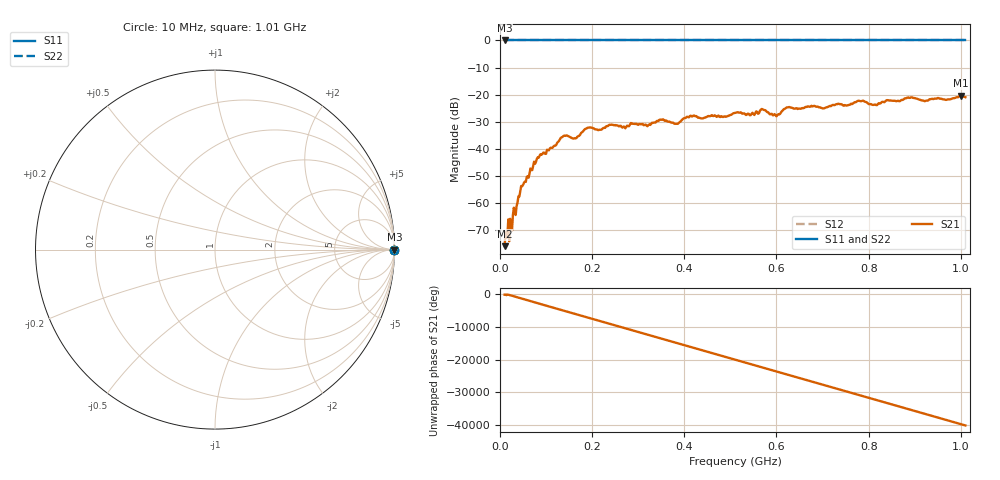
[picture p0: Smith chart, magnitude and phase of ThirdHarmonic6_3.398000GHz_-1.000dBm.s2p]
! 8/17/2025 10:50:52 AM
! C:\ANRITSUVNA\TEMP\TEMP.S2P
! CHANNEL.1
! TR.MEASUREMENT
! RAW.DATA
! RF.CORRECTION.OFF
! AVERAGING.OFF
! IF.BANDWIDTH: 5KHZ
! SWEEPTYPE:  FREQ.SWEEP(Linear)
! Reference Plane Port Info
! PORT:  PORT1  PORT2
! DISTANCE:  0  m  0  m
! TIME:  0  s  0  s
! PHASE.OFFSET:  0  deg.  0  deg.
! LOSS:  0  dB  0  dB
! REF.LOSS:  0  dB  0  dB
! REF.FREQ:  0  Hz  0  Hz
! Power Info
! POWER:  -20  dBm  -20  dBm
! EFF.POWER:  -20  dBm  -20  dBm
! SOURCE.ATTEN:  0  dB  0  dB
! TEST.ATTEN:  0  dB  0  dB
# GHZ S RI R 50.0
! FREQ.GHZ  S11RE  S11IM  S21RE  S21IM  S12RE  S12IM  S22RE  S22IM
!; PortSelection: Port_12
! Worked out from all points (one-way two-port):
!   501 points, 10 MHz to 1.01 GHz, reference 50 ohm
!   highest |S21| = -20.44 dB at 1 GHz (marker M1); lowest = -76.0 dB at 10 MHz (marker M2)
!   lowest |S11| = 0.0 dB at 10 MHz (marker M3)
!   |S11| at or under -10 dB: nowhere
!   |S22| runs from 0.0 to 0.0 dB; largest |S21 - S12| = 1.1
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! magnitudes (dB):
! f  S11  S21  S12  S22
! 10 MHz  0.0  -76.0  0.0  0.0
! 24 MHz  0.0  -67.8  0.0  0.0
! 48 MHz  0.0  -53.9  0.0  0.0
! 84 MHz  0.0  -43.3  0.0  0.0
! 136 MHz  0.0  -35.6  0.0  0.0
! 162 MHz  0.0  -36.2  0.0  0.0
! 178 MHz  0.0  -33.9  0.0  0.0
! 194 MHz  0.0  -32.2  0.0  0.0
! 322 MHz  0.0  -31.3  0.0  0.0
! 344 MHz  0.0  -29.8  0.0  0.0
! 382 MHz  0.0  -30.8  0.0  0.0
! 416 MHz  0.0  -28.1  0.0  0.0
! 510 MHz  0.0  -26.8  0.0  0.0
! 570 MHz  0.0  -25.4  0.0  0.0
! 602 MHz  0.0  -27.5  0.0  0.0
! 624 MHz  0.0  -24.7  0.0  0.0
! 678 MHz  0.0  -24.4  0.0  0.0
! 784 MHz  0.0  -22.4  0.0  0.0
! 814 MHz  0.0  -23.7  0.0  0.0
! 844 MHz  0.0  -22.2  0.0  0.0
! 1 GHz  0.0  -20.4  0.0  0.0
! 1.01 GHz  0.0  -21.0  0.0  0.0
